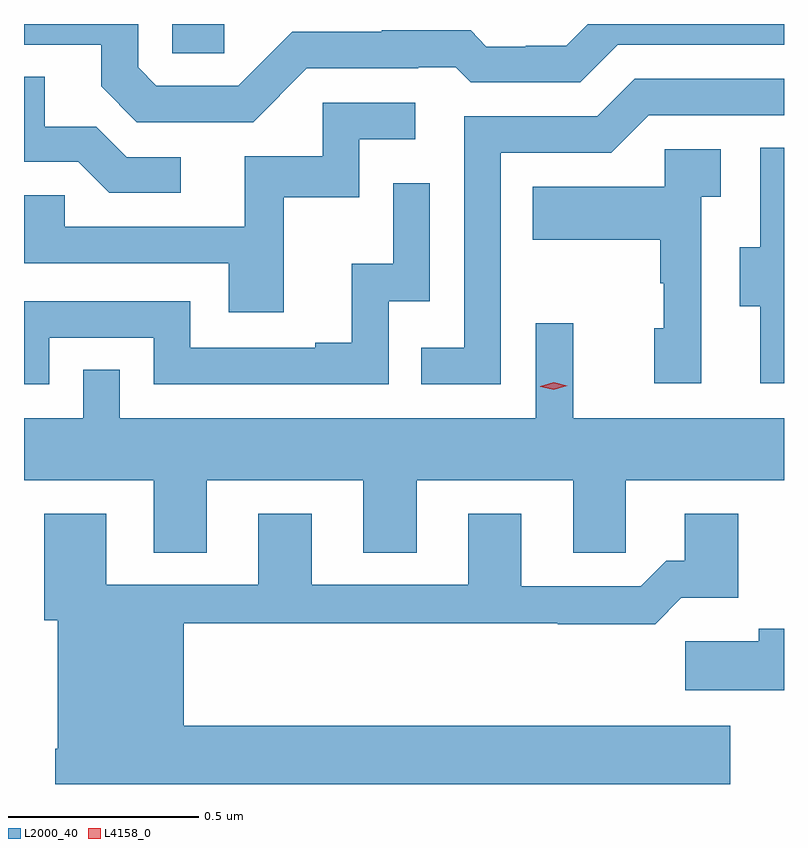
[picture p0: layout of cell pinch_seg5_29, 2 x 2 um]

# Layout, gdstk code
import gdstk
lib = gdstk.Library(unit=1e-6, precision=1e-09)
def R(c, l, rs):  # rectangles x0, y0, x1, y1
    for r in rs: c.add(gdstk.rectangle(r[:2], r[2:], *l))
def P(c, l, *ps):  # polygons
    for p in ps: c.add(gdstk.Polygon(p, *l))
L2000_40 = (2000, 40)
L4158_0 = (4158, 0)

pinch_seg5_29 = lib.new_cell('pinch_seg5_29')
R(pinch_seg5_29, L2000_40, [(1107.426,905.836,1107.563,905.913)])
P(pinch_seg5_29, L2000_40, [(1107.78,905.796),(1108.073,905.796),(1108.073,905.799),(1108.172,905.799),(1108.211,905.76),(1108.5,905.76),(1108.599,905.859),(1109.036,905.859),(1109.036,905.913),(1108.52,905.913),(1108.463,905.856),(1108.356,905.856),(1108.356,905.853),(1108.253,905.853),(1108.211,905.896),(1107.978,905.896),(1107.978,905.893),(1107.742,905.893),(1107.6,905.751),(1107.384,905.751),(1107.336,905.799),(1107.336,905.913),(1107.036,905.913),(1107.036,905.859),(1107.239,905.859),(1107.239,905.749),(1107.333,905.655),(1107.639,905.655)],
  [(1107.448,905.562),(1107.306,905.562),(1107.226,905.642),(1107.091,905.642),(1107.091,905.774),(1107.036,905.774),(1107.036,905.55),(1107.179,905.55),(1107.26,905.469),(1107.448,905.469)],
  [(1108.29,905.574),(1108.581,905.574),(1108.68,905.673),(1109.036,905.673),(1109.036,905.769),(1108.643,905.769),(1108.544,905.67),(1108.194,905.67),(1108.194,905.061),(1108.081,905.061),(1108.081,904.965),(1108.29,904.965)],
  [(1107.719,905.457),(1107.918,905.457),(1107.918,905.61),(1108.066,905.61),(1108.066,905.706),(1107.822,905.706),(1107.822,905.565),(1107.617,905.565),(1107.617,905.379),(1107.143,905.379),(1107.143,905.463),(1107.036,905.463),(1107.036,905.283),(1107.575,905.283),(1107.575,905.154),(1107.719,905.154)],
  [(1109.036,905.588),(1108.974,905.588),(1108.974,905.325),(1108.919,905.325),(1108.919,905.17),(1108.973,905.17),(1108.973,904.968),(1109.036,904.968)],
  [(1108.818,905.459),(1108.87,905.459),(1108.87,905.583),(1108.722,905.583),(1108.722,905.485),(1108.375,905.485),(1108.375,905.345),(1108.71,905.345),(1108.71,905.231),(1108.72,905.231),(1108.72,905.112),(1108.694,905.112),(1108.694,904.968),(1108.818,904.968)],
  [(1107.102,905.088),(1107.378,905.088),(1107.378,904.965),(1107.996,904.965),(1107.996,905.184),(1108.104,905.184),(1108.104,905.494),(1108.008,905.494),(1108.008,905.282),(1107.899,905.282),(1107.899,905.074),(1107.803,905.074),(1107.803,905.061),(1107.474,905.061),(1107.474,905.184),(1107.036,905.184),(1107.036,904.965),(1107.102,904.965)],
  [(1107.517,904.712),(1107.929,904.712),(1107.929,904.522),(1108.069,904.522),(1108.069,904.712),(1108.481,904.712),(1108.481,904.522),(1108.62,904.522),(1108.62,904.712),(1109.036,904.712),(1109.036,904.876),(1108.481,904.876),(1108.481,905.125),(1108.383,905.125),(1108.383,904.876),(1107.288,904.876),(1107.288,905.003),(1107.192,905.003),(1107.192,904.876),(1107.036,904.876),(1107.036,904.712),(1107.377,904.712),(1107.377,904.522),(1107.517,904.522)],
  [(1108.894,904.066),(1107.457,904.066),(1107.457,904.336),(1108.441,904.336),(1108.441,904.334),(1108.697,904.334),(1108.766,904.403),(1108.915,904.403),(1108.915,904.624),(1108.775,904.624),(1108.775,904.501),(1108.726,904.501),(1108.659,904.434),(1108.345,904.434),(1108.345,904.624),(1108.205,904.624),(1108.205,904.437),(1107.793,904.437),(1107.793,904.624),(1107.653,904.624),(1107.653,904.437),(1107.253,904.437),(1107.253,904.624),(1107.089,904.624),(1107.089,904.344),(1107.125,904.344),(1107.125,904.006),(1107.118,904.006),(1107.118,903.913),(1108.894,903.913)],
  [(1109.036,904.321),(1108.97,904.321),(1108.97,904.289),(1108.776,904.289),(1108.776,904.16),(1109.036,904.16)])
P(pinch_seg5_29, L4158_0, [(1108.43,904.95),(1108.394,904.959),(1108.394,904.96),(1108.394,904.96),(1108.43,904.97),(1108.466,904.961),(1108.466,904.961),(1108.466,904.961)])

lib.write_gds('pinch_seg5_29.gds')
